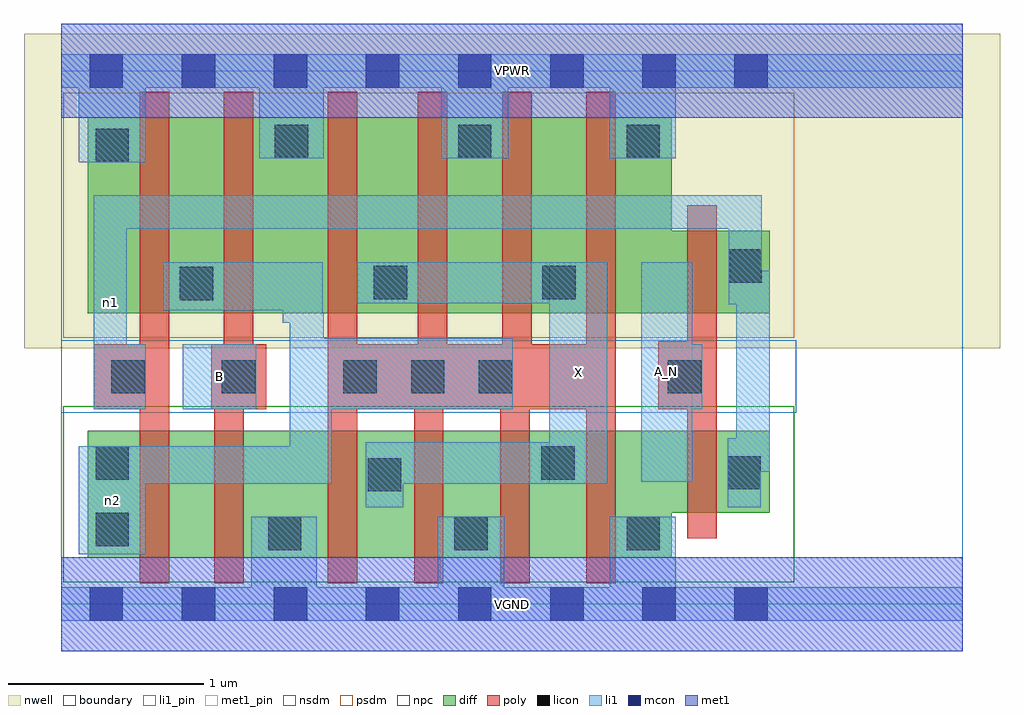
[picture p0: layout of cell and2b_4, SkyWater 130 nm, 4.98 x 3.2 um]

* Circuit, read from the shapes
.subckt and2b_4 A_N B VGND VPWR X n1 n2
XM1 n3 n1 n2 VSUBS sky130_fd_pr__nfet_01v8 w=0.65 l=0.15
XM2 VGND B n3 VSUBS sky130_fd_pr__nfet_01v8 w=0.65 l=0.15
XM3 X n2 VGND VSUBS sky130_fd_pr__nfet_01v8 w=0.65 l=0.15 m=4
XM4 n1 A_N VGND VSUBS sky130_fd_pr__nfet_01v8 w=0.42 l=0.15
XM5 n2 n1 VPWR n4 sky130_fd_pr__pfet_01v8 w=1 l=0.15
XM6 VPWR B n2 n4 sky130_fd_pr__pfet_01v8 w=1 l=0.15
XM7 X n2 VPWR n4 sky130_fd_pr__pfet_01v8 w=1 l=0.15 m=4
XM8 n1 A_N VPWR n4 sky130_fd_pr__pfet_01v8 w=0.42 l=0.15
.ends

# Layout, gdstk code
import gdstk
lib = gdstk.Library(unit=1e-6, precision=1e-09)
def R(c, l, rs):  # rectangles x0, y0, x1, y1
    for r in rs: c.add(gdstk.rectangle(r[:2], r[2:], *l))
def A(c, l, x, y, w, h, nx, ny, dx, dy):  # array of equal rectangles
    R(c, l, [(x+i*dx, y+j*dy, x+i*dx+w, y+j*dy+h) for i in range(nx) for j in range(ny)])
nwell = (64, 20)
diff = (65, 20)
poly = (66, 20)
licon = (66, 44)
li1_pin = (67, 16)
li1 = (67, 20)
mcon = (67, 44)
met1_pin = (68, 16)
met1 = (68, 20)
nsdm = (93, 44)
psdm = (94, 20)
npc = (95, 20)
boundary = (235, 4)

and2b_4 = lib.new_cell('and2b_4')
R(and2b_4, nwell, [(-0.19,1.305,4.79,2.91), (0,1.305,4.6,2.91)])
R(and2b_4, diff, [(0.135,0.235,3.115,0.885), (0.135,0.465,3.615,0.885), (0.135,1.485,3.615,1.905), (0.135,1.485,3.115,2.485)])
R(and2b_4, poly, [(0.4,0.105,0.55,2.615), (0.78,0.105,0.93,1.325), (1.36,0.105,1.51,2.615), (1.8,0.105,1.95,1.325), (2.24,0.105,2.39,1.325), (2.68,0.105,2.83,2.615), (3.195,0.335,3.345,2.035), (0.165,0.995,0.55,1.325), (0.765,0.995,1.045,1.325), (0.83,0.995,0.98,2.615), (1.36,0.995,2.83,1.325), (1.82,0.995,1.97,2.615), (2.25,0.995,2.4,2.615), (3.045,0.995,3.345,1.34)])
A(and2b_4, licon, 1.44, 1.075, 0.17, 0.17, 3, 1, 0.345, 0)
R(and2b_4, licon, [(1.055,0.275,1.225,0.445), (2.005,0.275,2.175,0.445), (2.885,0.275,3.055,0.445), (0.175,0.295,0.345,0.465), (1.565,0.575,1.735,0.745), (3.4,0.585,3.57,0.755), (0.175,0.635,0.345,0.805), (2.45,0.635,2.62,0.805), (0.255,1.075,0.425,1.245), (0.82,1.075,0.99,1.245), (3.095,1.075,3.265,1.245), (0.605,1.55,0.775,1.72), (1.595,1.555,1.765,1.725), (2.455,1.555,2.625,1.725), (3.405,1.64,3.575,1.81), (0.175,2.255,0.345,2.425), (1.09,2.275,1.26,2.445), (2.025,2.275,2.195,2.445), (2.885,2.275,3.055,2.445)])
R(and2b_4, li1_pin, [(2.49,0.615,2.785,1.745), (2.96,0.625,3.22,1.745), (0.62,0.995,0.995,1.325)])
R(and2b_4, li1, [(0,-0.085,4.6,0.085), (0.97,-0.085,1.305,0.445), (1.92,-0.085,2.26,0.445), (2.8,-0.085,3.135,0.445), (0.09,0.255,0.43,0.805), (1.555,0.495,1.745,0.825), (3.4,0.495,3.57,0.845), (0.09,0.615,1.38,0.805), (1.165,0.615,1.335,1.745), (1.165,0.615,1.38,1.355), (1.165,0.615,1.34,1.485), (1.555,0.615,2.785,0.825), (2.49,0.615,2.785,1.745), (2.96,0.625,3.22,1.745), (3.445,0.675,3.615,1.7), (0.165,0.995,0.335,2.085), (0.165,0.995,0.43,1.325), (0.62,0.995,0.995,1.325), (1.165,0.995,2.305,1.355), (2.96,0.995,3.27,1.325), (1.13,1.435,1.335,1.5), (0.52,1.5,1.335,1.745), (3.405,1.53,3.575,2.085), (1.51,1.535,2.785,1.745), (0.165,1.915,3.575,2.085), (0.09,2.255,0.43,2.805), (1.01,2.275,1.34,2.805), (1.94,2.275,2.28,2.805), (2.8,2.275,3.135,2.805), (0,2.635,4.6,2.805)])
A(and2b_4, mcon, 0.145, -0.085, 0.17, 0.17, 8, 2, 0.47, 2.72)
R(and2b_4, met1_pin, [(0,-0.24,4.6,0.24), (0,2.48,4.6,2.96)])
R(and2b_4, met1, [(0,-0.24,4.6,0.24), (0,2.48,4.6,2.96)])
R(and2b_4, nsdm, [(0.01,0.11,3.74,1.01)])
R(and2b_4, psdm, [(0.01,1.36,3.74,2.61)])
R(and2b_4, npc, [(0,0.975,3.75,1.345)])
R(and2b_4, boundary, [(0,0,4.6,2.72)])
and2b_4.add(gdstk.Label('A_N', (3.09,1.185), layer=67, texttype=5))
and2b_4.add(gdstk.Label('B', (0.807,1.16), layer=67, texttype=5))
and2b_4.add(gdstk.Label('X', (2.637,1.18), layer=67, texttype=5))
and2b_4.add(gdstk.Label('n2', (0.26,0.53), layer=67, texttype=5))
and2b_4.add(gdstk.Label('n1', (0.25,1.54), layer=67, texttype=5))
and2b_4.add(gdstk.Label('VPWR', (2.3,2.72), layer=68, texttype=5))
and2b_4.add(gdstk.Label('VGND', (2.3,0), layer=68, texttype=5))
and2b_4.add(gdstk.Label('A_N', (3.09,1.185), layer=67, texttype=16))
and2b_4.add(gdstk.Label('B', (0.807,1.16), layer=67, texttype=16))
and2b_4.add(gdstk.Label('X', (2.637,1.18), layer=67, texttype=16))
and2b_4.add(gdstk.Label('VPWR', (2.3,2.72), layer=68, texttype=16))
and2b_4.add(gdstk.Label('VGND', (2.3,0), layer=68, texttype=16))

lib.write_gds('and2b_4.gds')
